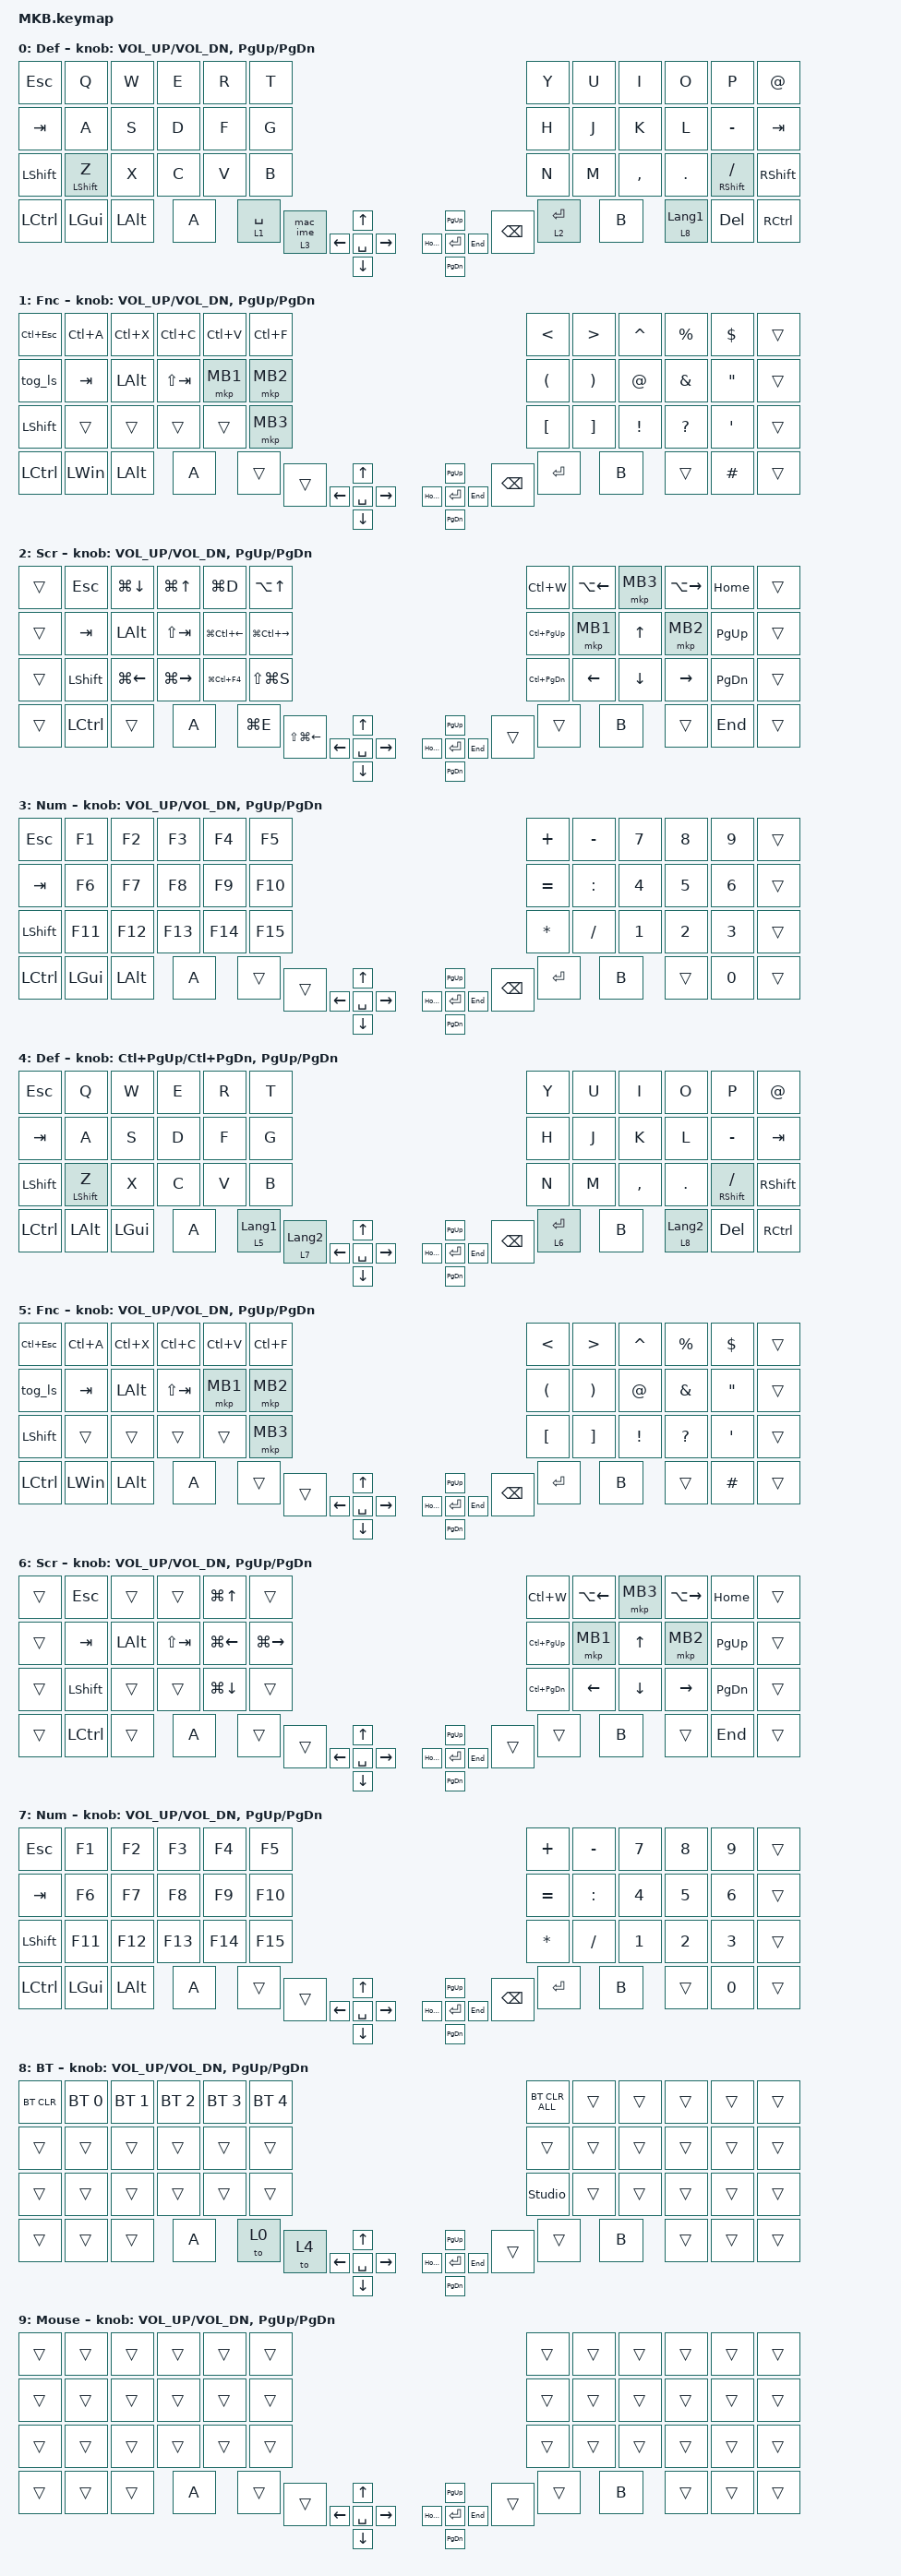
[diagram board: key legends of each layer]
// #include <layout_shift.dtsi>

#include <layout_shift_kp_override.dtsi>
#include <behaviors.dtsi>
#include <dt-bindings/zmk/bt.h>
#include <dt-bindings/zmk/keys.h>
#include <dt-bindings/zmk/pointing.h>

#define DEF 0
#define FUNC 1
#define NUM 2
#define MOUSE 3
#define SCROLL 4
#define BT 5

&mt {
    flavor = "balanced";
    tapping-term-ms = <280>;
    quick-tap-ms = <175>;
    require-prior-idle-ms = <150>;
};

/ {
    macros {
        mac_ime: mac_ime {
            compatible = "zmk,behavior-macro";
            #binding-cells = <0>;
            bindings = <&kp LA(GRAVE)>;
        };
    };

    behaviors {
        lt_ime: lt_ime {
            compatible = "zmk,behavior-hold-tap";
            #binding-cells = <2>;
            flavor = "tap-preferred";
            tapping-term-ms = <200>;
            bindings = <&mo>, <&mac_ime>;
        };
    };

    combos {
        compatible = "zmk,combos";

        lang2 {
            bindings = <&kp LANGUAGE_2>;
            key-positions = <16 15>;
        };

        tab {
            bindings = <&kp TAB>;
            key-positions = <13 14>;
        };

        shift+tab {
            bindings = <&kp LS(TAB)>;
            key-positions = <21 22>;
        };

        esc {
            bindings = <&kp ESCAPE>;
            key-positions = <1 2>;
        };

        lang1 {
            bindings = <&kp LANGUAGE_1>;
            key-positions = <19 20>;
        };
    };

    keymap {
        compatible = "zmk,keymap";

        Win-default_layer {
            label = "Def";
            bindings = <
&kp ESCAPE  &kp Q             &kp W      &kp E     &kp R        &kp T            &kp Y          &kp U        &kp I      &kp O             &kp P                  &kp AT_SIGN
&kp TAB     &kp A             &kp S      &kp D     &kp F        &kp G            &kp H          &kp J        &kp K      &kp L             &kp MINUS              &kp TAB
&kp LSHFT   &mt LEFT_SHIFT Z  &kp X      &kp C     &kp V        &kp B            &kp N          &kp M        &kp COMMA  &kp DOT           &mt RIGHT_SHIFT SLASH  &kp RIGHT_SHIFT
&kp LCTRL   &kp LGUI          &kp LALT             &lt 1 SPACE  &lt_ime 3 0      &kp BACKSPACE  &lt 2 ENTER             &lt 8 LANGUAGE_1  &kp DELETE             &kp RCTRL
&kp LEFT    &kp UP            &kp SPACE  &kp DOWN  &kp RIGHT                                    &kp HOME     &kp PG_UP  &kp ENTER         &kp PG_DN              &kp END
                                         &kp A                                                               &kp B
            >;

            sensor-bindings =
                <&inc_dec_kp C_VOL_UP C_VOL_DN>,
                <&inc_dec_kp PG_UP PG_DN>;
        };

        Win-function_layer {
            label = "Fnc";
            bindings = <
&kp LC(ESCAPE)  &kp LC(A)     &kp LC(X)     &kp LC(C)    &kp LC(V)  &kp LC(F)      &kp LESS_THAN         &kp GREATER_THAN       &kp CARET        &kp PERCENT    &kp DOLLAR         &trans
&tog_ls         &kp TAB       &kp LEFT_ALT  &kp LS(TAB)  &mkp MB1   &mkp MB2       &kp LEFT_PARENTHESIS  &kp RIGHT_PARENTHESIS  &kp AT_SIGN      &kp AMPERSAND  &kp DOUBLE_QUOTES  &trans
&kp LEFT_SHIFT  &trans        &trans        &trans       &trans     &mkp MB3       &kp LEFT_BRACKET      &kp RIGHT_BRACKET      &kp EXCLAMATION  &kp QUESTION   &kp SQT            &trans
&kp LCTRL       &kp LEFT_WIN  &kp LALT                   &trans     &trans         &kp BACKSPACE         &kp ENTER                               &trans         &kp HASH           &trans
&kp LEFT        &kp UP        &kp SPACE     &kp DOWN     &kp RIGHT                                       &kp HOME               &kp PG_UP        &kp ENTER      &kp PG_DN          &kp END
                                            &kp A                                                                               &kp B
            >;

            sensor-bindings = <&inc_dec_kp C_VOL_UP C_VOL_DN &inc_dec_kp PG_UP PG_DN>;
        };

        Win-Common_layer {
            label = "Scr";
            bindings = <
&trans    &kp ESCAPE      &kp LG(DOWN_ARROW)  &kp LG(UP_ARROW)     &kp LG(D)               &kp LA(UP_ARROW)             &kp LC(W)          &kp LA(LEFT_ARROW)  &mkp MB3        &kp LA(RIGHT_ARROW)  &kp HOME       &trans
&trans    &kp TAB         &kp LEFT_ALT        &kp LS(TAB)          &kp LG(LC(LEFT_ARROW))  &kp LG(LC(RIGHT_ARROW))      &kp LC(PAGE_UP)    &mkp MB1            &kp UP_ARROW    &mkp MB2             &kp PAGE_UP    &trans
&trans    &kp LEFT_SHIFT  &kp LG(LEFT_ARROW)  &kp LG(RIGHT_ARROW)  &kp LG(LC(F4))          &kp LS(LG(S))                &kp LC(PAGE_DOWN)  &kp LEFT_ARROW      &kp DOWN_ARROW  &kp RIGHT_ARROW      &kp PAGE_DOWN  &trans
&trans    &kp LCTRL       &trans                                   &kp LG(E)               &kp LS(LG(LEFT_ARROW))       &trans             &trans                              &trans               &kp END        &trans
&kp LEFT  &kp UP          &kp SPACE           &kp DOWN             &kp RIGHT                                                               &kp HOME            &kp PG_UP       &kp ENTER            &kp PG_DN      &kp END
                                              &kp A                                                                                                            &kp B
            >;

            sensor-bindings = <&inc_dec_kp C_VOL_UP C_VOL_DN &inc_dec_kp PG_UP PG_DN>;
        };

        Win-num_layer {
            label = "Num";
            bindings = <
&kp ESCAPE      &kp F1        &kp F2        &kp F3    &kp F4     &kp F5       &kp PLUS       &kp MINUS  &kp N7     &kp N8     &kp N9     &trans
&kp TAB         &kp F6        &kp F7        &kp F8    &kp F9     &kp F10      &kp EQUAL      &kp COLON  &kp N4     &kp N5     &kp N6     &trans
&kp LEFT_SHIFT  &kp F11       &kp F12       &kp F13   &kp F14    &kp F15      &kp ASTERISK   &kp FSLH   &kp N1     &kp N2     &kp N3     &trans
&kp LCTRL       &kp LEFT_GUI  &kp LEFT_ALT            &trans     &trans       &kp BACKSPACE  &kp ENTER             &trans     &kp N0     &trans
&kp LEFT        &kp UP        &kp SPACE     &kp DOWN  &kp RIGHT                              &kp HOME   &kp PG_UP  &kp ENTER  &kp PG_DN  &kp END
                                            &kp A                                                       &kp B
            >;

            sensor-bindings = <&inc_dec_kp C_VOL_UP C_VOL_DN &inc_dec_kp PG_UP PG_DN>;
        };

        Mac-default_layer {
            label = "Def";
            bindings = <
&kp ESCAPE  &kp Q             &kp W         &kp E     &kp R             &kp T                 &kp Y          &kp U        &kp I      &kp O             &kp P                  &kp AT_SIGN
&kp TAB     &kp A             &kp S         &kp D     &kp F             &kp G                 &kp H          &kp J        &kp K      &kp L             &kp MINUS              &kp TAB
&kp LSHFT   &mt LEFT_SHIFT Z  &kp X         &kp C     &kp V             &kp B                 &kp N          &kp M        &kp COMMA  &kp DOT           &mt RIGHT_SHIFT SLASH  &kp RIGHT_SHIFT
&kp LCTRL   &kp LEFT_ALT      &kp LEFT_GUI            &lt 5 LANGUAGE_1  &lt 7 LANGUAGE_2      &kp BACKSPACE  &lt 6 ENTER             &lt 8 LANGUAGE_2  &kp DELETE             &kp RCTRL
&kp LEFT    &kp UP            &kp SPACE     &kp DOWN  &kp RIGHT                                              &kp HOME     &kp PG_UP  &kp ENTER         &kp PG_DN              &kp END
                                            &kp A                                                                         &kp B
            >;

            sensor-bindings =
                <&inc_dec_kp LC(PAGE_UP) LC(PAGE_DOWN)>,
                <&inc_dec_kp PG_UP PG_DN>;
        };

        Mac-function_layer {
            label = "Fnc";
            bindings = <
&kp LC(ESCAPE)  &kp LC(A)     &kp LC(X)     &kp LC(C)    &kp LC(V)  &kp LC(F)      &kp LESS_THAN         &kp GREATER_THAN       &kp CARET        &kp PERCENT    &kp DOLLAR         &trans
&tog_ls         &kp TAB       &kp LEFT_ALT  &kp LS(TAB)  &mkp MB1   &mkp MB2       &kp LEFT_PARENTHESIS  &kp RIGHT_PARENTHESIS  &kp AT_SIGN      &kp AMPERSAND  &kp DOUBLE_QUOTES  &trans
&kp LEFT_SHIFT  &trans        &trans        &trans       &trans     &mkp MB3       &kp LEFT_BRACKET      &kp RIGHT_BRACKET      &kp EXCLAMATION  &kp QUESTION   &kp SQT            &trans
&kp LCTRL       &kp LEFT_WIN  &kp LALT                   &trans     &trans         &kp BACKSPACE         &kp ENTER                               &trans         &kp HASH           &trans
&kp LEFT        &kp UP        &kp SPACE     &kp DOWN     &kp RIGHT                                       &kp HOME               &kp PG_UP        &kp ENTER      &kp PG_DN          &kp END
                                            &kp A                                                                               &kp B
            >;

            sensor-bindings =
                <&inc_dec_kp C_VOL_UP C_VOL_DN>,
                <&inc_dec_kp PG_UP PG_DN>;
        };

        Mac-Common_layer {
            label = "Scr";
            bindings = <
&trans    &kp ESCAPE      &trans        &trans       &kp LG(UP_ARROW)    &trans                   &kp LC(W)          &kp LA(LEFT_ARROW)  &mkp MB3        &kp LA(RIGHT_ARROW)  &kp HOME       &trans
&trans    &kp TAB         &kp LEFT_ALT  &kp LS(TAB)  &kp LG(LEFT_ARROW)  &kp LG(RIGHT_ARROW)      &kp LC(PAGE_UP)    &mkp MB1            &kp UP_ARROW    &mkp MB2             &kp PAGE_UP    &trans
&trans    &kp LEFT_SHIFT  &trans        &trans       &kp LG(DOWN_ARROW)  &trans                   &kp LC(PAGE_DOWN)  &kp LEFT_ARROW      &kp DOWN_ARROW  &kp RIGHT_ARROW      &kp PAGE_DOWN  &trans
&trans    &kp LCTRL       &trans                     &trans              &trans                   &trans             &trans                              &trans               &kp END        &trans
&kp LEFT  &kp UP          &kp SPACE     &kp DOWN     &kp RIGHT                                                       &kp HOME            &kp PG_UP       &kp ENTER            &kp PG_DN      &kp END
                                        &kp A                                                                                            &kp B
            >;

            sensor-bindings =
                <&inc_dec_kp C_VOL_UP C_VOL_DN>,
                <&inc_dec_kp PG_UP PG_DN>;
        };

        Mac-num_layer {
            label = "Num";
            bindings = <
&kp ESCAPE      &kp F1        &kp F2        &kp F3    &kp F4     &kp F5       &kp PLUS       &kp MINUS  &kp N7     &kp N8     &kp N9     &trans
&kp TAB         &kp F6        &kp F7        &kp F8    &kp F9     &kp F10      &kp EQUAL      &kp COLON  &kp N4     &kp N5     &kp N6     &trans
&kp LEFT_SHIFT  &kp F11       &kp F12       &kp F13   &kp F14    &kp F15      &kp ASTERISK   &kp FSLH   &kp N1     &kp N2     &kp N3     &trans
&kp LCTRL       &kp LEFT_GUI  &kp LEFT_ALT            &trans     &trans       &kp BACKSPACE  &kp ENTER             &trans     &kp N0     &trans
&kp LEFT        &kp UP        &kp SPACE     &kp DOWN  &kp RIGHT                              &kp HOME   &kp PG_UP  &kp ENTER  &kp PG_DN  &kp END
                                            &kp A                                                       &kp B
            >;

            sensor-bindings =
                <&inc_dec_kp C_VOL_UP C_VOL_DN>,
                <&inc_dec_kp PG_UP PG_DN>;
        };

        setting_layer {
            label = "BT";
            bindings = <
&bt BT_CLR  &bt BT_SEL 0  &bt BT_SEL 1  &bt BT_SEL 2  &bt BT_SEL 3  &bt BT_SEL 4      &bt BT_CLR_ALL  &trans    &trans     &trans     &trans     &trans
&trans      &trans        &trans        &trans        &trans        &trans            &trans          &trans    &trans     &trans     &trans     &trans
&trans      &trans        &trans        &trans        &trans        &trans            &studio_unlock  &trans    &trans     &trans     &trans     &trans
&trans      &trans        &trans                      &to 0         &to 4             &trans          &trans               &trans     &trans     &trans
&kp LEFT    &kp UP        &kp SPACE     &kp DOWN      &kp RIGHT                                       &kp HOME  &kp PG_UP  &kp ENTER  &kp PG_DN  &kp END
                                        &kp A                                                                   &kp B
            >;

            sensor-bindings = <&inc_dec_kp C_VOL_UP C_VOL_DN &inc_dec_kp PG_UP PG_DN>;
        };

        mouse_layer {
            label = "Mouse";
            bindings = <
&trans    &trans  &trans     &trans    &trans     &trans      &trans  &trans    &trans     &trans     &trans     &trans
&trans    &trans  &trans     &trans    &trans     &trans      &trans  &trans    &trans     &trans     &trans     &trans
&trans    &trans  &trans     &trans    &trans     &trans      &trans  &trans    &trans     &trans     &trans     &trans
&trans    &trans  &trans               &trans     &trans      &trans  &trans               &trans     &trans     &trans
&kp LEFT  &kp UP  &kp SPACE  &kp DOWN  &kp RIGHT                      &kp HOME  &kp PG_UP  &kp ENTER  &kp PG_DN  &kp END
                             &kp A                                              &kp B
            >;

            sensor-bindings = <&inc_dec_kp C_VOL_UP C_VOL_DN &inc_dec_kp PG_UP PG_DN>;
        };
    };
};
